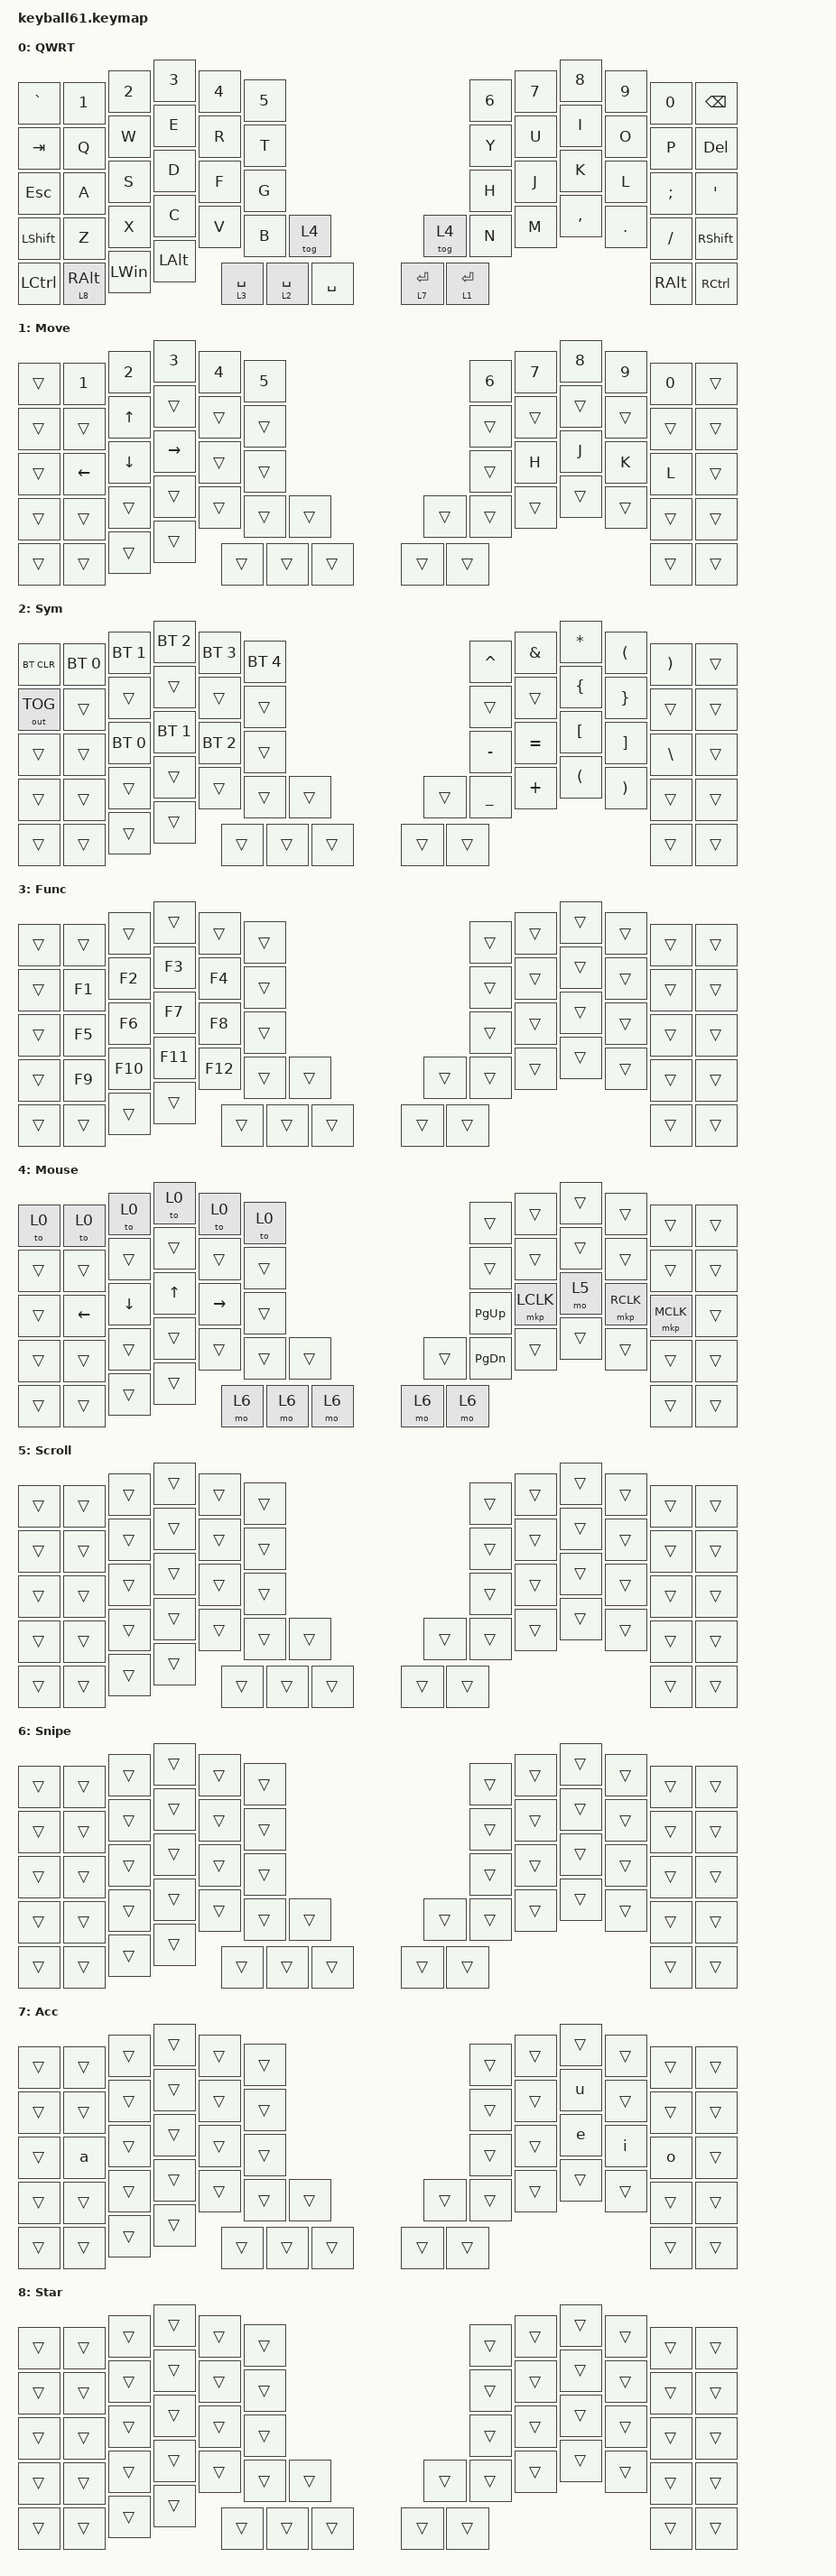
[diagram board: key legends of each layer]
#define DEFAULT 0
#define NUM     1
#define SYM     2
#define FUN     3
#define MOUSE   4
#define SCROLL  5
#define SNIPE   6

#include <behaviors/mouse_keys.dtsi>
#include <dt-bindings/zmk/mouse.h>
#include <behaviors.dtsi>
#include <dt-bindings/zmk/bt.h>
#include <dt-bindings/zmk/keys.h>
#include <dt-bindings/zmk/outputs.h>
#include <dt-bindings/zmk/pointing.h>

&lt {
    tapping-term-ms = <240>;
    flavor = "balanced";
    quick-tap-ms = <150>;
};

&mt {
    tapping-term-ms = <200>;
    flavor = "tap-preferred";
    quick-tap-ms = <150>;
};

/ {
    macros {
        // Accented vowels via Compose key (Menu) + grave + letter.
        // Requires: Linux → setxkbmap -option compose:menu
        //           Windows → WinCompose configured with Menu key
        // Colemak remapping: physical K=e, L=i, ;=o, A=a, I=u

        e: e_grave {
            compatible = "zmk,behavior-macro";
            #binding-cells = <0>;
            wait-ms = <30>;
            tap-ms = <30>;
            bindings = <&kp K_APP &kp GRAVE &kp K>;
            label = "E_GRAVE";
        };

        i: i_grave {
            compatible = "zmk,behavior-macro";
            #binding-cells = <0>;
            wait-ms = <30>;
            tap-ms = <30>;
            bindings = <&kp K_APP &kp GRAVE &kp L>;
            label = "I_GRAVE";
        };

        o: o_grave {
            compatible = "zmk,behavior-macro";
            #binding-cells = <0>;
            wait-ms = <30>;
            tap-ms = <30>;
            bindings = <&kp K_APP &kp GRAVE &kp SEMI>;
            label = "O_GRAVE";
        };

        a: a_grave {
            compatible = "zmk,behavior-macro";
            #binding-cells = <0>;
            wait-ms = <30>;
            tap-ms = <30>;
            bindings = <&kp K_APP &kp GRAVE &kp A>;
            label = "A_GRAVE";
        };

        u: u_grave {
            compatible = "zmk,behavior-macro";
            #binding-cells = <0>;
            wait-ms = <30>;
            tap-ms = <30>;
            bindings = <&kp K_APP &kp GRAVE &kp I>;
            label = "U_GRAVE";
        };
    };

    keymap {
        compatible = "zmk,keymap";

        default_layer {
            label = "QWRT";
            bindings = <
&kp GRAVE       &kp N1           &kp N2        &kp N3        &kp N4       &kp N5                             &kp N6     &kp N7  &kp N8     &kp N9   &kp N0         &kp BSPC
&kp TAB         &kp Q            &kp W         &kp E         &kp R        &kp T                              &kp Y      &kp U   &kp I      &kp O    &kp P          &kp DEL
&kp ESC         &kp A            &kp S         &kp D         &kp F        &kp G                              &kp H      &kp J   &kp K      &kp L    &kp SEMI       &kp SQT
&kp LEFT_SHIFT  &kp Z            &kp X         &kp C         &kp V        &kp B        &tog 4     &tog 4     &kp N      &kp M   &kp COMMA  &kp DOT  &kp FSLH       &kp RIGHT_SHIFT
&kp LCTRL       &lt 8 RIGHT_ALT  &kp LEFT_WIN  &kp LEFT_ALT  &lt 3 SPACE  &lt 2 SPACE  &kp SPACE  &lt 7 RET  &lt 1 RET                              &kp RIGHT_ALT  &kp RCTRL
            >;
        };

        number_layer {
            bindings = <
&trans  &kp N1    &kp N2        &kp N3     &kp N4  &kp N5                  &kp N6  &kp N7  &kp N8  &kp N9  &kp N0  &trans
&trans  &trans    &kp UP_ARROW  &trans     &trans  &trans                  &trans  &trans  &trans  &trans  &trans  &trans
&trans  &kp LEFT  &kp DOWN      &kp RIGHT  &trans  &trans                  &trans  &kp H   &kp J   &kp K   &kp L   &trans
&trans  &trans    &trans        &trans     &trans  &trans  &trans  &trans  &trans  &trans  &trans  &trans  &trans  &trans
&trans  &trans    &trans        &trans     &trans  &trans  &trans  &trans  &trans                          &trans  &trans
            >;

            label = "Move";
        };

        symbol_layer {
            label = "Sym";
            bindings = <
&bt BT_CLR    &bt BT_SEL 0  &bt BT_SEL 1  &bt BT_SEL 2  &bt BT_SEL 3  &bt BT_SEL 4                  &kp CARET       &kp AMPERSAND  &kp ASTERISK          &kp LEFT_PARENTHESIS   &kp RIGHT_PARENTHESIS  &trans
&out OUT_TOG  &trans        &trans        &trans        &trans        &trans                        &trans          &trans         &kp LEFT_BRACE        &kp RIGHT_BRACE        &trans                 &trans
&trans        &trans        &bt BT_SEL 0  &bt BT_SEL 1  &bt BT_SEL 2  &trans                        &kp MINUS       &kp EQUAL      &kp LEFT_BRACKET      &kp RIGHT_BRACKET      &kp BACKSLASH          &trans
&trans        &trans        &trans        &trans        &trans        &trans        &trans  &trans  &kp UNDERSCORE  &kp PLUS       &kp LEFT_PARENTHESIS  &kp RIGHT_PARENTHESIS  &trans                 &trans
&trans        &trans        &trans        &trans        &trans        &trans        &trans  &trans  &trans                                                                      &trans                 &trans
            >;
        };

        function_layer {
            label = "Func";
            bindings = <
&trans  &trans  &trans   &trans   &trans   &trans                  &trans  &trans  &trans  &trans  &trans  &trans
&trans  &kp F1  &kp F2   &kp F3   &kp F4   &trans                  &trans  &trans  &trans  &trans  &trans  &trans
&trans  &kp F5  &kp F6   &kp F7   &kp F8   &trans                  &trans  &trans  &trans  &trans  &trans  &trans
&trans  &kp F9  &kp F10  &kp F11  &kp F12  &trans  &trans  &trans  &trans  &trans  &trans  &trans  &trans  &trans
&trans  &trans  &trans   &trans   &trans   &trans  &trans  &trans  &trans                          &trans  &trans
            >;
        };

        mouse_layer {
            label = "Mouse";
            bindings = <
&to 0   &to 0     &to 0     &to 0   &to 0      &to 0                   &trans         &trans     &trans  &trans     &trans     &trans
&trans  &trans    &trans    &trans  &trans     &trans                  &trans         &trans     &trans  &trans     &trans     &trans
&trans  &kp LEFT  &kp DOWN  &kp UP  &kp RIGHT  &trans                  &kp PAGE_UP    &mkp LCLK  &mo 5   &mkp RCLK  &mkp MCLK  &trans
&trans  &trans    &trans    &trans  &trans     &trans  &trans  &trans  &kp PAGE_DOWN  &trans     &trans  &trans     &trans     &trans
&trans  &trans    &trans    &trans  &mo 6      &mo 6   &mo 6   &mo 6   &mo 6                                        &trans     &trans
            >;
        };

        scroll_layer {
            label = "Scroll";
            bindings = <
&trans  &trans  &trans  &trans  &trans  &trans                  &trans  &trans  &trans  &trans  &trans  &trans
&trans  &trans  &trans  &trans  &trans  &trans                  &trans  &trans  &trans  &trans  &trans  &trans
&trans  &trans  &trans  &trans  &trans  &trans                  &trans  &trans  &trans  &trans  &trans  &trans
&trans  &trans  &trans  &trans  &trans  &trans  &trans  &trans  &trans  &trans  &trans  &trans  &trans  &trans
&trans  &trans  &trans  &trans  &trans  &trans  &trans  &trans  &trans                          &trans  &trans
            >;
        };

        snipe_layer {
            label = "Snipe";
            bindings = <
&trans  &trans  &trans  &trans  &trans  &trans                  &trans  &trans  &trans  &trans  &trans  &trans
&trans  &trans  &trans  &trans  &trans  &trans                  &trans  &trans  &trans  &trans  &trans  &trans
&trans  &trans  &trans  &trans  &trans  &trans                  &trans  &trans  &trans  &trans  &trans  &trans
&trans  &trans  &trans  &trans  &trans  &trans  &trans  &trans  &trans  &trans  &trans  &trans  &trans  &trans
&trans  &trans  &trans  &trans  &trans  &trans  &trans  &trans  &trans                          &trans  &trans
            >;
        };

        accent {
            label = "Acc";
            bindings = <
&trans  &trans  &trans  &trans  &trans  &trans                  &trans  &trans  &trans  &trans  &trans  &trans
&trans  &trans  &trans  &trans  &trans  &trans                  &trans  &trans  &u      &trans  &trans  &trans
&trans  &a      &trans  &trans  &trans  &trans                  &trans  &trans  &e      &i      &o      &trans
&trans  &trans  &trans  &trans  &trans  &trans  &trans  &trans  &trans  &trans  &trans  &trans  &trans  &trans
&trans  &trans  &trans  &trans  &trans  &trans  &trans  &trans  &trans                          &trans  &trans
            >;
        };

        Star {
            bindings = <
&trans  &trans  &trans  &trans  &trans  &trans                  &trans  &trans  &trans  &trans  &trans  &trans
&trans  &trans  &trans  &trans  &trans  &trans                  &trans  &trans  &trans  &trans  &trans  &trans
&trans  &trans  &trans  &trans  &trans  &trans                  &trans  &trans  &trans  &trans  &trans  &trans
&trans  &trans  &trans  &trans  &trans  &trans  &trans  &trans  &trans  &trans  &trans  &trans  &trans  &trans
&trans  &trans  &trans  &trans  &trans  &trans  &trans  &trans  &trans                          &trans  &trans
            >;

            label = "Star";
        };
    };
};
